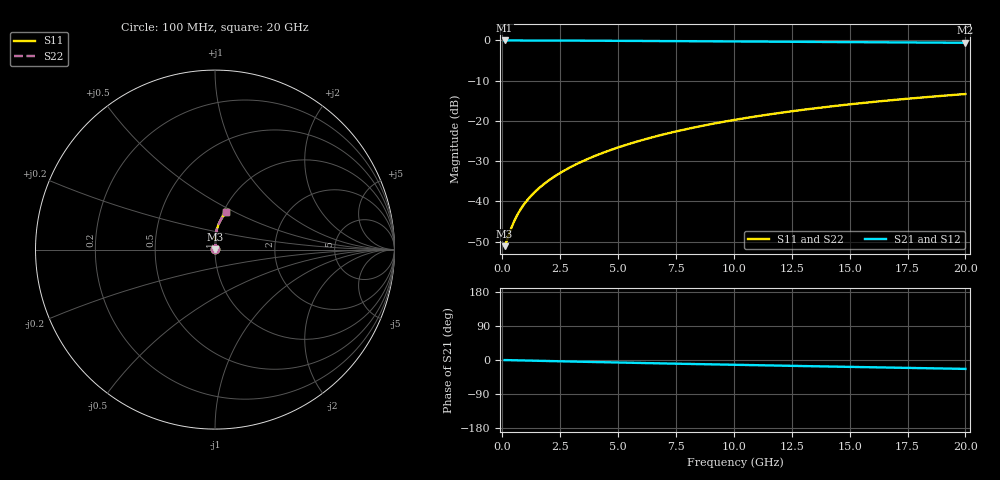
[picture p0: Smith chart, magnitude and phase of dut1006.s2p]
! Touchstone file exported from HFSS 2024.1.0
!  File:  C:/UserFiles/LocalFiles/RDL_TSV_Batchsim/temp_RDL_top_1006_1780042507.aedt
!  Generated:  04:18:24 PM May 29, 2026
!  Design:  RDL_top
!  Project:  temp_RDL_top_1006_1780042507
!  Setup:  Setup1
!  Solution:  Sweep
! Variables:
!  dtsv = 10.80580581um
!  hbump = 3um
!  htsv = 62.8um
!  ldown = 100um
!  lrdl = 332.7um
!  p = 40
!  p1 = 42.67um
!  rhole = 1um
!  t = 450um
!  tdown = 3.915915916um
!  trdl = 2.22um
!  wdown = 15.38538539um
!  wrdl = 24.07um
# GHz S MA R 50.000000
! Terminal data exported
! Port[1] = Box2_T1
! Port[2] = Box2_T2
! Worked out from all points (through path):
!   200 points, 100 MHz to 20 GHz, reference 50 ohm
!   highest |S21| = -0.02 dB at 100 MHz (marker M1); lowest = -0.6 dB at 20 GHz (marker M2)
!   group delay of S21, straight-line fit = 3.23 ps
!   lowest |S11| = -51.1 dB at 100 MHz (marker M3), VSWR 1.01, Z = 50.3 + j0.104 ohm
!   |S11| at or under -10 dB: start of sweep to end of sweep
!   |S22| runs from -51.1 to -13.3 dB; largest |S21 - S12| = 3.4e-15
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0.1  0.002782 21.8  0.9974 -0.1  0.9974 -0.1  0.002782 21.8
! Gamma 0 0 0 0
! Port Impedance 50 0 50 0
0.2  0.003287 37.2  0.9973 -0.3  0.9973 -0.3  0.003284 37.3
0.4  0.004747 54.8  0.9971 -0.6  0.9971 -0.6  0.00475 54.9
0.6  0.006389 63.4  0.9968 -0.9  0.9968 -0.9  0.006395 63.4
0.7  0.007221 66.1  0.9966 -1.0  0.9966 -1.0  0.007227 66.1
0.9  0.008886 70.2  0.9964 -1.3  0.9964 -1.3  0.008891 70.2
1.2  0.01138 74.3  0.996 -1.7  0.996 -1.7  0.01139 74.3
1.4  0.01306 76.3  0.9957 -1.9  0.9957 -1.9  0.01306 76.3
1.7  0.0156 78.7  0.9952 -2.3  0.9952 -2.3  0.0156 78.7
2.2  0.01993 81.7  0.9944 -3.0  0.9944 -3.0  0.01993 81.7
2.8  0.02531 84.1  0.9932 -3.8  0.9932 -3.8  0.02531 84.1
3.5  0.03186 85.9  0.9915 -4.7  0.9915 -4.7  0.03186 85.9
4.2  0.03868 87.1  0.9895 -5.6  0.9895 -5.6  0.03868 87.1
5  0.0468 87.9  0.987 -6.6  0.987 -6.6  0.0468 87.9
5.9  0.05631 88.2  0.9841 -7.8  0.9841 -7.8  0.0563 88.2
6.8  0.06613 88.1  0.9809 -8.9  0.9809 -8.9  0.06612 88.1
8.4  0.08417 87.2  0.9751 -10.8  0.9751 -10.8  0.08416 87.2
10.1  0.1038 85.7  0.9689 -12.7  0.9689 -12.7  0.1038 85.7
11.7  0.1224 83.9  0.9631 -14.5  0.9631 -14.5  0.1224 83.9
13.4  0.1421 81.9  0.9569 -16.4  0.9569 -16.4  0.1421 81.9
16.7  0.1796 77.8  0.9451 -20.0  0.9451 -20.0  0.1796 77.8
20  0.2156 73.7  0.9332 -23.5  0.9332 -23.5  0.2156 73.7
